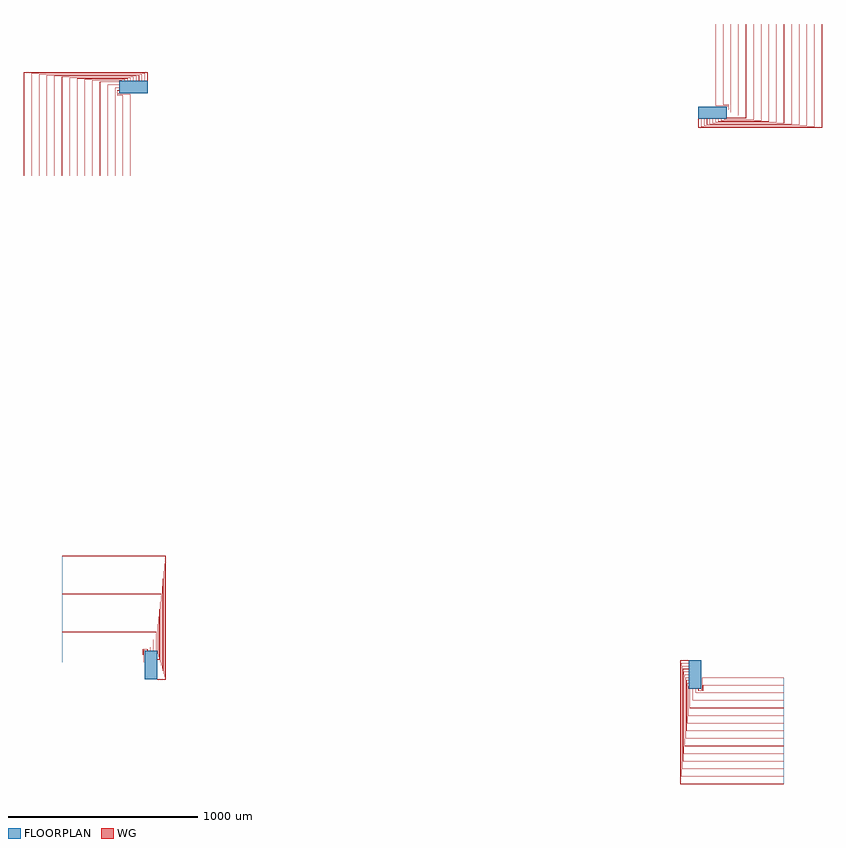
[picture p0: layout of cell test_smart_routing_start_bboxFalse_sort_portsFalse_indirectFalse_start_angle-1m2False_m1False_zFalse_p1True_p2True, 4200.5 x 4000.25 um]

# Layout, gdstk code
import gdstk
lib = gdstk.Library(unit=1e-6, precision=1e-09)
def R(c, l, rs):  # rectangles x0, y0, x1, y1
    for r in rs: c.add(gdstk.rectangle(r[:2], r[2:], *l))
def P(c, l, *ps):  # polygons
    for p in ps: c.add(gdstk.Polygon(p, *l))
WG = (1, 0)
FLOORPLAN = (10, 0)

test_smart_routing_start = lib.new_cell('test_smart_routing_start_bboxFalse_sort_portsFalse_indirectFalse_start_angle-1m2False_m1False_zFalse_p1True_p2True')
P(test_smart_routing_start, WG, [(2950.05,2855.3),(2950.05,2900),(2950.25,2900),(2950.25,2855.5),(3599.75,2855.5),(3599.75,3400),(3599.95,3400),(3599.95,2855.3)],
  [(2949.75,2855),(2949.75,2900),(2949.95,2900),(2949.95,2855.2),(3600.05,2855.2),(3600.05,3400),(3600.25,3400),(3600.25,2855)],
  [(2965.05,2859.8),(2965.05,2900),(2965.25,2900),(2965.25,2860),(3559.75,2860),(3559.75,3400),(3559.95,3400),(3559.95,2859.8)],
  [(2964.75,2859.5),(2964.75,2900),(2964.95,2900),(2964.95,2859.7),(3560.05,2859.7),(3560.05,3400),(3560.25,3400),(3560.25,2859.5)],
  [(2980.05,2864.3),(2980.05,2900),(2980.25,2900),(2980.25,2864.5),(3519.75,2864.5),(3519.75,3400),(3519.95,3400),(3519.95,2864.3)],
  [(2979.75,2864),(2979.75,2900),(2979.95,2900),(2979.95,2864.2),(3520.05,2864.2),(3520.05,3400),(3520.25,3400),(3520.25,2864)],
  [(2995.05,2868.8),(2995.05,2900),(2995.25,2900),(2995.25,2869),(3479.75,2869),(3479.75,3400),(3479.95,3400),(3479.95,2868.8)],
  [(2994.75,2868.5),(2994.75,2900),(2994.95,2900),(2994.95,2868.7),(3480.05,2868.7),(3480.05,3400),(3480.25,3400),(3480.25,2868.5)],
  [(3010.05,2873.3),(3010.05,2900),(3010.25,2900),(3010.25,2873.5),(3439.75,2873.5),(3439.75,3400),(3439.95,3400),(3439.95,2873.3)],
  [(3009.75,2873),(3009.75,2900),(3009.95,2900),(3009.95,2873.2),(3440.05,2873.2),(3440.05,3400),(3440.25,3400),(3440.25,2873)],
  [(3025.05,2877.8),(3025.05,2900),(3025.25,2900),(3025.25,2878),(3399.75,2878),(3399.75,3400),(3399.95,3400),(3399.95,2877.8)],
  [(3024.75,2877.5),(3024.75,2900),(3024.95,2900),(3024.95,2877.7),(3400.05,2877.7),(3400.05,3400),(3400.25,3400),(3400.25,2877.5)],
  [(3040.05,2882.3),(3040.05,2900),(3040.25,2900),(3040.25,2882.5),(3359.75,2882.5),(3359.75,3400),(3359.95,3400),(3359.95,2882.3)],
  [(3039.75,2882),(3039.75,2900),(3039.95,2900),(3039.95,2882.2),(3360.05,2882.2),(3360.05,3400),(3360.25,3400),(3360.25,2882)],
  [(3055.05,2886.8),(3055.05,2900),(3055.25,2900),(3055.25,2887),(3319.75,2887),(3319.75,3400),(3319.95,3400),(3319.95,2886.8)],
  [(3054.75,2886.5),(3054.75,2900),(3054.95,2900),(3054.95,2886.7),(3320.05,2886.7),(3320.05,3400),(3320.25,3400),(3320.25,2886.5)],
  [(3070.05,2891.3),(3070.05,2900),(3070.25,2900),(3070.25,2891.5),(3279.75,2891.5),(3279.75,3400),(3279.95,3400),(3279.95,2891.3)],
  [(3069.75,2891),(3069.75,2900),(3069.95,2900),(3069.95,2891.2),(3280.05,2891.2),(3280.05,3400),(3280.25,3400),(3280.25,2891)],
  [(3085.05,2895.8),(3085.05,2900),(3085.25,2900),(3085.25,2896),(3239.75,2896),(3239.75,3400),(3239.95,3400),(3239.95,2895.8)],
  [(3084.75,2895.5),(3084.75,2900),(3084.95,2900),(3084.95,2895.7),(3240.05,2895.7),(3240.05,3400),(3240.25,3400),(3240.25,2895.5)],
  [(3100,2965.05),(3100,2965.25),(3104,2965.25),(3104,2969.25),(3039.75,2969.25),(3039.75,3400),(3039.95,3400),(3039.95,2969.45),(3104.2,2969.45),(3104.2,2965.05)],
  [(3100,2964.75),(3100,2964.95),(3104.3,2964.95),(3104.3,2969.55),(3040.05,2969.55),(3040.05,3400),(3040.25,3400),(3040.25,2969.75),(3104.5,2969.75),(3104.5,2964.75)],
  [(3100,2950.05),(3100,2950.25),(3108.5,2950.25),(3108.5,2973.75),(3079.75,2973.75),(3079.75,3400),(3079.95,3400),(3079.95,2973.95),(3108.7,2973.95),(3108.7,2950.05)],
  [(3100,2949.75),(3100,2949.95),(3108.8,2949.95),(3108.8,2974.05),(3080.05,2974.05),(3080.05,3400),(3080.25,3400),(3080.25,2974.25),(3109,2974.25),(3109,2949.75)],
  [(3100,2935.05),(3100,2935.25),(3119.75,2935.25),(3119.75,3400),(3119.95,3400),(3119.95,2935.05)],
  [(3100,2934.75),(3100,2934.95),(3120.05,2934.95),(3120.05,3400),(3120.25,3400),(3120.25,2934.75)],
  [(3100,2920.05),(3100,2920.25),(3159.75,2920.25),(3159.75,3400),(3159.95,3400),(3159.95,2920.05)],
  [(3100,2919.75),(3100,2919.95),(3160.05,2919.95),(3160.05,3400),(3160.25,3400),(3160.25,2919.75)],
  [(3100,2905.05),(3100,2905.25),(3199.75,2905.25),(3199.75,3400),(3199.95,3400),(3199.95,2905.05)],
  [(3100,2904.75),(3100,2904.95),(3200.05,2904.95),(3200.05,3400),(3200.25,3400),(3200.25,2904.75)],
  [(-599.95,2600),(-599.95,3144.7),(49.95,3144.7),(49.95,3100),(49.75,3100),(49.75,3144.5),(-599.75,3144.5),(-599.75,2600)],
  [(-600.25,2600),(-600.25,3145),(50.25,3145),(50.25,3100),(50.05,3100),(50.05,3144.8),(-600.05,3144.8),(-600.05,2600)],
  [(-559.95,2600),(-559.95,3140.2),(34.95,3140.2),(34.95,3100),(34.75,3100),(34.75,3140),(-559.75,3140),(-559.75,2600)],
  [(-560.25,2600),(-560.25,3140.5),(35.25,3140.5),(35.25,3100),(35.05,3100),(35.05,3140.3),(-560.05,3140.3),(-560.05,2600)],
  [(-519.95,2600),(-519.95,3135.7),(19.95,3135.7),(19.95,3100),(19.75,3100),(19.75,3135.5),(-519.75,3135.5),(-519.75,2600)],
  [(-520.25,2600),(-520.25,3136),(20.25,3136),(20.25,3100),(20.05,3100),(20.05,3135.8),(-520.05,3135.8),(-520.05,2600)],
  [(-479.95,2600),(-479.95,3131.2),(4.95,3131.2),(4.95,3100),(4.75,3100),(4.75,3131),(-479.75,3131),(-479.75,2600)],
  [(-480.25,2600),(-480.25,3131.5),(5.25,3131.5),(5.25,3100),(5.05,3100),(5.05,3131.3),(-480.05,3131.3),(-480.05,2600)],
  [(-439.95,2600),(-439.95,3126.7),(-10.05,3126.7),(-10.05,3100),(-10.25,3100),(-10.25,3126.5),(-439.75,3126.5),(-439.75,2600)],
  [(-440.25,2600),(-440.25,3127),(-9.75,3127),(-9.75,3100),(-9.95,3100),(-9.95,3126.8),(-440.05,3126.8),(-440.05,2600)],
  [(-399.95,2600),(-399.95,3122.2),(-25.05,3122.2),(-25.05,3100),(-25.25,3100),(-25.25,3122),(-399.75,3122),(-399.75,2600)],
  [(-400.25,2600),(-400.25,3122.5),(-24.75,3122.5),(-24.75,3100),(-24.95,3100),(-24.95,3122.3),(-400.05,3122.3),(-400.05,2600)],
  [(-359.95,2600),(-359.95,3117.7),(-40.05,3117.7),(-40.05,3100),(-40.25,3100),(-40.25,3117.5),(-359.75,3117.5),(-359.75,2600)],
  [(-360.25,2600),(-360.25,3118),(-39.75,3118),(-39.75,3100),(-39.95,3100),(-39.95,3117.8),(-360.05,3117.8),(-360.05,2600)],
  [(-319.95,2600),(-319.95,3113.2),(-55.05,3113.2),(-55.05,3100),(-55.25,3100),(-55.25,3113),(-319.75,3113),(-319.75,2600)],
  [(-320.25,2600),(-320.25,3113.5),(-54.75,3113.5),(-54.75,3100),(-54.95,3100),(-54.95,3113.3),(-320.05,3113.3),(-320.05,2600)],
  [(-279.95,2600),(-279.95,3108.7),(-70.05,3108.7),(-70.05,3100),(-70.25,3100),(-70.25,3108.5),(-279.75,3108.5),(-279.75,2600)],
  [(-280.25,2600),(-280.25,3109),(-69.75,3109),(-69.75,3100),(-69.95,3100),(-69.95,3108.8),(-280.05,3108.8),(-280.05,2600)],
  [(-239.95,2600),(-239.95,3104.2),(-85.05,3104.2),(-85.05,3100),(-85.25,3100),(-85.25,3104),(-239.75,3104),(-239.75,2600)],
  [(-240.25,2600),(-240.25,3104.5),(-84.75,3104.5),(-84.75,3100),(-84.95,3100),(-84.95,3104.3),(-240.05,3104.3),(-240.05,2600)],
  [(-39.95,2600),(-39.95,3030.55),(-104.2,3030.55),(-104.2,3034.95),(-100,3034.95),(-100,3034.75),(-104,3034.75),(-104,3030.75),(-39.75,3030.75),(-39.75,2600)],
  [(-40.25,2600),(-40.25,3030.25),(-104.5,3030.25),(-104.5,3035.25),(-100,3035.25),(-100,3035.05),(-104.3,3035.05),(-104.3,3030.45),(-40.05,3030.45),(-40.05,2600)],
  [(-79.95,2600),(-79.95,3026.05),(-108.7,3026.05),(-108.7,3049.95),(-100,3049.95),(-100,3049.75),(-108.5,3049.75),(-108.5,3026.25),(-79.75,3026.25),(-79.75,2600)],
  [(-80.25,2600),(-80.25,3025.75),(-109,3025.75),(-109,3050.25),(-100,3050.25),(-100,3050.05),(-108.8,3050.05),(-108.8,3025.95),(-80.05,3025.95),(-80.05,2600)],
  [(-119.95,2600),(-119.95,3064.95),(-100,3064.95),(-100,3064.75),(-119.75,3064.75),(-119.75,2600)],
  [(-120.25,2600),(-120.25,3065.25),(-100,3065.25),(-100,3065.05),(-120.05,3065.05),(-120.05,2600)],
  [(-159.95,2600),(-159.95,3079.95),(-100,3079.95),(-100,3079.75),(-159.75,3079.75),(-159.75,2600)],
  [(-160.25,2600),(-160.25,3080.25),(-100,3080.25),(-100,3080.05),(-160.05,3080.05),(-160.05,2600)],
  [(-199.95,2600),(-199.95,3094.95),(-100,3094.95),(-100,3094.75),(-199.75,3094.75),(-199.75,2600)],
  [(-200.25,2600),(-200.25,3095.25),(-100,3095.25),(-100,3095.05),(-200.05,3095.05),(-200.05,2600)],
  [(100,-49.95),(100,-49.75),(144.5,-49.75),(144.5,599.75),(-400,599.75),(-400,599.95),(144.7,599.95),(144.7,-49.95)],
  [(100,-50.25),(100,-50.05),(144.8,-50.05),(144.8,600.05),(-400,600.05),(-400,600.25),(145,600.25),(145,-50.25)],
  [(100,-34.95),(100,-34.75),(140,-34.75),(140,559.75),(-400,559.75),(-400,559.95),(140.2,559.95),(140.2,-34.95)],
  [(100,-35.25),(100,-35.05),(140.3,-35.05),(140.3,560.05),(-400,560.05),(-400,560.25),(140.5,560.25),(140.5,-35.25)],
  [(100,-19.95),(100,-19.75),(135.5,-19.75),(135.5,519.75),(-400,519.75),(-400,519.95),(135.7,519.95),(135.7,-19.95)],
  [(100,-20.25),(100,-20.05),(135.8,-20.05),(135.8,520.05),(-400,520.05),(-400,520.25),(136,520.25),(136,-20.25)],
  [(100,-4.95),(100,-4.75),(131,-4.75),(131,479.75),(-400,479.75),(-400,479.95),(131.2,479.95),(131.2,-4.95)],
  [(100,-5.25),(100,-5.05),(131.3,-5.05),(131.3,480.05),(-400,480.05),(-400,480.25),(131.5,480.25),(131.5,-5.25)],
  [(100,10.05),(100,10.25),(126.5,10.25),(126.5,439.75),(-400,439.75),(-400,439.95),(126.7,439.95),(126.7,10.05)],
  [(100,9.75),(100,9.95),(126.8,9.95),(126.8,440.05),(-400,440.05),(-400,440.25),(127,440.25),(127,9.75)],
  [(100,25.05),(100,25.25),(122,25.25),(122,399.75),(-400,399.75),(-400,399.95),(122.2,399.95),(122.2,25.05)],
  [(100,24.75),(100,24.95),(122.3,24.95),(122.3,400.05),(-400,400.05),(-400,400.25),(122.5,400.25),(122.5,24.75)],
  [(100,40.05),(100,40.25),(117.5,40.25),(117.5,359.75),(-400,359.75),(-400,359.95),(117.7,359.95),(117.7,40.05)],
  [(100,39.75),(100,39.95),(117.8,39.95),(117.8,360.05),(-400,360.05),(-400,360.25),(118,360.25),(118,39.75)],
  [(100,55.05),(100,55.25),(113,55.25),(113,319.75),(-400,319.75),(-400,319.95),(113.2,319.95),(113.2,55.05)],
  [(100,54.75),(100,54.95),(113.3,54.95),(113.3,320.05),(-400,320.05),(-400,320.25),(113.5,320.25),(113.5,54.75)],
  [(100,70.05),(100,70.25),(108.5,70.25),(108.5,279.75),(-400,279.75),(-400,279.95),(108.7,279.95),(108.7,70.05)],
  [(100,69.75),(100,69.95),(108.8,69.95),(108.8,280.05),(-400,280.05),(-400,280.25),(109,280.25),(109,69.75)],
  [(100,85.05),(100,85.25),(104,85.25),(104,239.75),(-400,239.75),(-400,239.95),(104.2,239.95),(104.2,85.05)],
  [(100,84.75),(100,84.95),(104.3,84.95),(104.3,240.05),(-400,240.05),(-400,240.25),(104.5,240.25),(104.5,84.75)],
  [(-400,39.75),(-400,39.95),(30.55,39.95),(30.55,104.2),(34.95,104.2),(34.95,100),(34.75,100),(34.75,104),(30.75,104),(30.75,39.75)],
  [(-400,40.05),(-400,40.25),(30.25,40.25),(30.25,104.5),(35.25,104.5),(35.25,100),(35.05,100),(35.05,104.3),(30.45,104.3),(30.45,40.05)],
  [(-400,79.75),(-400,79.95),(26.05,79.95),(26.05,108.7),(49.95,108.7),(49.95,100),(49.75,100),(49.75,108.5),(26.25,108.5),(26.25,79.75)],
  [(-400,80.05),(-400,80.25),(25.75,80.25),(25.75,109),(50.25,109),(50.25,100),(50.05,100),(50.05,108.8),(25.95,108.8),(25.95,80.05)],
  [(64.75,100),(64.75,119.75),(-400,119.75),(-400,119.95),(64.95,119.95),(64.95,100)],
  [(65.05,100),(65.05,120.05),(-400,120.05),(-400,120.25),(65.25,120.25),(65.25,100)],
  [(79.75,100),(79.75,159.75),(-400,159.75),(-400,159.95),(79.95,159.95),(79.95,100)],
  [(80.05,100),(80.05,160.05),(-400,160.05),(-400,160.25),(80.25,160.25),(80.25,100)],
  [(94.75,100),(94.75,199.75),(-400,199.75),(-400,199.95),(94.95,199.95),(94.95,100)],
  [(95.05,100),(95.05,200.05),(-400,200.05),(-400,200.25),(95.25,200.25),(95.25,100)],
  [(2855.3,-599.95),(2855.3,49.95),(2900,49.95),(2900,49.75),(2855.5,49.75),(2855.5,-599.75),(3400,-599.75),(3400,-599.95)],
  [(2855,-600.25),(2855,50.25),(2900,50.25),(2900,50.05),(2855.2,50.05),(2855.2,-600.05),(3400,-600.05),(3400,-600.25)],
  [(2859.8,-559.95),(2859.8,34.95),(2900,34.95),(2900,34.75),(2860,34.75),(2860,-559.75),(3400,-559.75),(3400,-559.95)],
  [(2859.5,-560.25),(2859.5,35.25),(2900,35.25),(2900,35.05),(2859.7,35.05),(2859.7,-560.05),(3400,-560.05),(3400,-560.25)],
  [(2864.3,-519.95),(2864.3,19.95),(2900,19.95),(2900,19.75),(2864.5,19.75),(2864.5,-519.75),(3400,-519.75),(3400,-519.95)],
  [(2864,-520.25),(2864,20.25),(2900,20.25),(2900,20.05),(2864.2,20.05),(2864.2,-520.05),(3400,-520.05),(3400,-520.25)],
  [(2868.8,-479.95),(2868.8,4.95),(2900,4.95),(2900,4.75),(2869,4.75),(2869,-479.75),(3400,-479.75),(3400,-479.95)],
  [(2868.5,-480.25),(2868.5,5.25),(2900,5.25),(2900,5.05),(2868.7,5.05),(2868.7,-480.05),(3400,-480.05),(3400,-480.25)],
  [(2873.3,-439.95),(2873.3,-10.05),(2900,-10.05),(2900,-10.25),(2873.5,-10.25),(2873.5,-439.75),(3400,-439.75),(3400,-439.95)],
  [(2873,-440.25),(2873,-9.75),(2900,-9.75),(2900,-9.95),(2873.2,-9.95),(2873.2,-440.05),(3400,-440.05),(3400,-440.25)],
  [(2877.8,-399.95),(2877.8,-25.05),(2900,-25.05),(2900,-25.25),(2878,-25.25),(2878,-399.75),(3400,-399.75),(3400,-399.95)],
  [(2877.5,-400.25),(2877.5,-24.75),(2900,-24.75),(2900,-24.95),(2877.7,-24.95),(2877.7,-400.05),(3400,-400.05),(3400,-400.25)],
  [(2882.3,-359.95),(2882.3,-40.05),(2900,-40.05),(2900,-40.25),(2882.5,-40.25),(2882.5,-359.75),(3400,-359.75),(3400,-359.95)],
  [(2882,-360.25),(2882,-39.75),(2900,-39.75),(2900,-39.95),(2882.2,-39.95),(2882.2,-360.05),(3400,-360.05),(3400,-360.25)],
  [(2886.8,-319.95),(2886.8,-55.05),(2900,-55.05),(2900,-55.25),(2887,-55.25),(2887,-319.75),(3400,-319.75),(3400,-319.95)],
  [(2886.5,-320.25),(2886.5,-54.75),(2900,-54.75),(2900,-54.95),(2886.7,-54.95),(2886.7,-320.05),(3400,-320.05),(3400,-320.25)],
  [(2891.3,-279.95),(2891.3,-70.05),(2900,-70.05),(2900,-70.25),(2891.5,-70.25),(2891.5,-279.75),(3400,-279.75),(3400,-279.95)],
  [(2891,-280.25),(2891,-69.75),(2900,-69.75),(2900,-69.95),(2891.2,-69.95),(2891.2,-280.05),(3400,-280.05),(3400,-280.25)],
  [(2895.8,-239.95),(2895.8,-85.05),(2900,-85.05),(2900,-85.25),(2896,-85.25),(2896,-239.75),(3400,-239.75),(3400,-239.95)],
  [(2895.5,-240.25),(2895.5,-84.75),(2900,-84.75),(2900,-84.95),(2895.7,-84.95),(2895.7,-240.05),(3400,-240.05),(3400,-240.25)],
  [(2964.75,-104.5),(2964.75,-100),(2964.95,-100),(2964.95,-104.3),(2969.55,-104.3),(2969.55,-40.05),(3400,-40.05),(3400,-40.25),(2969.75,-40.25),(2969.75,-104.5)],
  [(2965.05,-104.2),(2965.05,-100),(2965.25,-100),(2965.25,-104),(2969.25,-104),(2969.25,-39.75),(3400,-39.75),(3400,-39.95),(2969.45,-39.95),(2969.45,-104.2)],
  [(2949.75,-109),(2949.75,-100),(2949.95,-100),(2949.95,-108.8),(2974.05,-108.8),(2974.05,-80.05),(3400,-80.05),(3400,-80.25),(2974.25,-80.25),(2974.25,-109)],
  [(2950.05,-108.7),(2950.05,-100),(2950.25,-100),(2950.25,-108.5),(2973.75,-108.5),(2973.75,-79.75),(3400,-79.75),(3400,-79.95),(2973.95,-79.95),(2973.95,-108.7)],
  [(2934.75,-120.25),(2934.75,-100),(2934.95,-100),(2934.95,-120.05),(3400,-120.05),(3400,-120.25)],
  [(2935.05,-119.95),(2935.05,-100),(2935.25,-100),(2935.25,-119.75),(3400,-119.75),(3400,-119.95)],
  [(2919.75,-160.25),(2919.75,-100),(2919.95,-100),(2919.95,-160.05),(3400,-160.05),(3400,-160.25)],
  [(2920.05,-159.95),(2920.05,-100),(2920.25,-100),(2920.25,-159.75),(3400,-159.75),(3400,-159.95)],
  [(2904.75,-200.25),(2904.75,-100),(2904.95,-100),(2904.95,-200.05),(3400,-200.05),(3400,-200.25)],
  [(2905.05,-199.95),(2905.05,-100),(2905.25,-100),(2905.25,-199.75),(3400,-199.75),(3400,-199.95)])
R(test_smart_routing_start, FLOORPLAN, [(2900,-100,2965,50), (35,-50,100,100), (2950,2900,3100,2965), (-100,3035,50,3100)])
P(test_smart_routing_start, FLOORPLAN, [(-400,40),(-400,600),(-400,600),(-400,40)],
  [(-600,2600),(-600,2600),(-40,2600),(-40,2600)],
  [(3400,-600),(3400,-40),(3400,-40),(3400,-600)],
  [(3040,3400),(3040,3400),(3600,3400),(3600,3400)])

lib.write_gds('test_smart_routing_start_bboxFalse_sort_portsFalse_indirectFalse_start_angle-1m2False_m1False_zFalse_p1True_p2True.gds')
